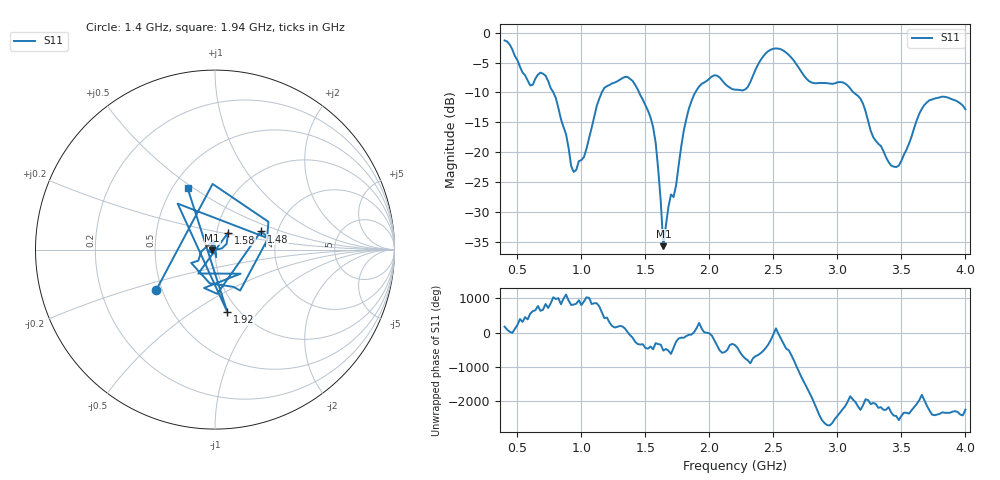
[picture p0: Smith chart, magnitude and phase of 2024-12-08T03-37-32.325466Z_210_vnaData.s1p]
!Created with skrf (http://scikit-rf.org).
# Hz S RI R 50.0
!freq ReS11 ImS11
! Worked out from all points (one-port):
!   181 points, 400 MHz to 4 GHz, reference 50 ohm
!   lowest |S11| = -35.7 dB at 1.64 GHz (marker M1), VSWR 1.03, Z = 48.5 - j0.447 ohm
!   |S11| at or under -10 dB: 780.8 MHz to 1.159 GHz (378.6 MHz wide, 39 % of centre); 1.451 GHz to 1.89 GHz (439.5 MHz wide, 26.3 % of centre); 3.127 GHz to end of sweep
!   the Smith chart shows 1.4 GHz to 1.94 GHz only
!   S11 on the Smith chart (normalised r, x): 1.4 GHz: 0.47, -0.25; 1.48 GHz: 1.64, +0.36; 1.58 GHz: 1.14, +0.22; 1.92 GHz: 0.88, -0.70; 1.94 GHz: 0.60, +0.47
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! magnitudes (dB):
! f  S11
! 400 MHz  -1.3
! 600 MHz  -8.8
! 720 MHz  -7.2
! 860 MHz  -15.8
! 920 MHz  -22.3
! 960 MHz  -23.0
! 1.16 GHz  -10.0
! 1.3 GHz  -7.9
! 1.4 GHz  -8.1
! 1.48 GHz  -11.2
! 1.58 GHz  -18.4
! 1.64 GHz  -35.7
! 1.68 GHz  -29.1
! 1.72 GHz  -27.5
! 1.76 GHz  -22.2
! 1.84 GHz  -12.7
! 1.92 GHz  -9.0
! 1.94 GHz  -8.6
! 2.2 GHz  -9.5
! 2.3 GHz  -9.1
! 2.48 GHz  -2.8
! 2.66 GHz  -4.7
! 2.78 GHz  -8.1
! 3.1 GHz  -9.3
! 3.42 GHz  -22.2
! 3.56 GHz  -18.5
! 3.72 GHz  -11.3
! 4 GHz  -12.8
